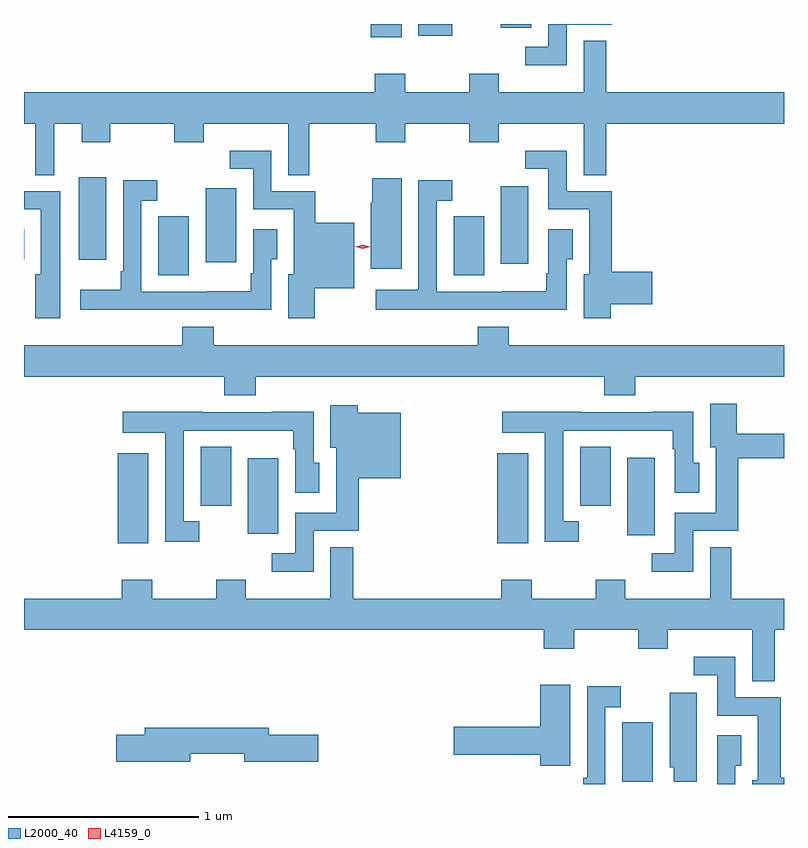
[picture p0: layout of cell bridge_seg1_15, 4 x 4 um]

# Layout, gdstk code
import gdstk
lib = gdstk.Library(unit=1e-6, precision=1e-09)
def R(c, l, rs):  # rectangles x0, y0, x1, y1
    for r in rs: c.add(gdstk.rectangle(r[:2], r[2:], *l))
def P(c, l, *ps):  # polygons
    for p in ps: c.add(gdstk.Polygon(p, *l))
L2000_40 = (2000, 40)
L4159_0 = (4159, 0)

bridge_seg1_15 = lib.new_cell('bridge_seg1_15')
R(bridge_seg1_15, L2000_40, [(883.283,529.621,883.444,529.932), (880.628,530.874,880.789,531.349), (882.626,530.874,882.787,531.349), (883.31,530.916,883.453,531.325), (881.312,530.924,881.473,531.322), (881.063,531.072,881.224,531.383), (883.061,531.072,883.222,531.383), (880.841,532.285,881.002,532.596), (882.395,532.285,882.556,532.596), (882.644,532.347,882.787,532.753), (881.09,532.355,881.251,532.744), (880.421,532.368,880.567,532.801), (880.134,532.369,880.135,532.528), (881.96,533.538,882.121,533.608), (882.21,533.547,882.388,533.608), (882.644,533.588,882.805,533.608)])
P(bridge_seg1_15, L2000_40, [(882.99,533.604),(883.228,533.604),(883.228,533.608),(882.894,533.608),(882.894,533.487),(882.771,533.487),(882.771,533.39),(882.99,533.39)],
  [(880.294,533.084),(880.439,533.084),(880.439,532.985),(880.587,532.985),(880.587,533.084),(880.924,533.084),(880.924,532.985),(881.079,532.985),(881.079,533.084),(881.525,533.084),(881.525,532.813),(881.636,532.813),(881.636,533.084),(881.986,533.084),(881.986,532.985),(882.141,532.985),(882.141,533.084),(882.478,533.084),(882.478,532.985),(882.633,532.985),(882.633,533.084),(883.079,533.084),(883.079,532.813),(883.198,532.813),(883.198,533.084),(884.134,533.084),(884.134,533.248),(883.198,533.248),(883.198,533.519),(883.079,533.519),(883.079,533.248),(882.633,533.248),(882.633,533.347),(882.478,533.347),(882.478,533.248),(882.141,533.248),(882.141,533.347),(881.981,533.347),(881.981,533.248),(880.134,533.248),(880.134,533.084),(880.193,533.084),(880.193,532.813),(880.294,532.813)],
  [(883.223,532.133),(883.441,532.133),(883.441,532.304),(883.228,532.304),(883.228,532.728),(882.99,532.728),(882.99,532.942),(882.771,532.942),(882.771,532.845),(882.894,532.845),(882.894,532.632),(883.109,532.632),(883.109,532.291),(883.079,532.291),(883.079,532.059),(883.223,532.059)],
  [(881.664,532.217),(881.872,532.217),(881.872,532.561),(881.666,532.561),(881.666,532.728),(881.436,532.728),(881.436,532.942),(881.217,532.942),(881.217,532.845),(881.34,532.845),(881.34,532.632),(881.555,532.632),(881.555,532.291),(881.525,532.291),(881.525,532.059),(881.664,532.059)],
  [(882.121,532.795),(881.968,532.795),(881.968,532.668),(881.96,532.668),(881.96,532.32),(882.121,532.32)],
  [(880.849,532.104),(881.215,532.104),(881.215,532.103),(881.436,532.103),(881.436,532.369),(881.467,532.369),(881.467,532.528),(881.34,532.528),(881.34,532.297),(881.328,532.297),(881.328,532.201),(881.098,532.201),(881.098,532.2),(880.752,532.2),(880.752,532.677),(880.834,532.677),(880.834,532.786),(880.656,532.786),(880.656,532.306),(880.644,532.306),(880.644,532.21),(880.431,532.21),(880.431,532.103),(880.849,532.103)],
  [(882.403,532.104),(882.769,532.104),(882.769,532.103),(882.99,532.103),(882.99,532.369),(883.021,532.369),(883.021,532.528),(882.894,532.528),(882.894,532.297),(882.882,532.297),(882.882,532.201),(882.652,532.201),(882.652,532.2),(882.306,532.2),(882.306,532.677),(882.388,532.677),(882.388,532.786),(882.21,532.786),(882.21,532.21),(881.985,532.21),(881.985,532.103),(882.403,532.103)],
  [(880.324,532.728),(880.134,532.728),(880.134,532.632),(880.223,532.632),(880.223,532.291),(880.193,532.291),(880.193,532.059),(880.324,532.059)],
  [(881.354,531.752),(883.187,531.752),(883.187,531.653),(883.352,531.653),(883.352,531.752),(884.134,531.752),(884.134,531.916),(882.686,531.916),(882.686,532.015),(882.521,532.015),(882.521,531.916),(881.132,531.916),(881.132,532.015),(880.967,532.015),(880.967,531.916),(880.134,531.916),(880.134,531.752),(881.189,531.752),(881.189,531.653),(881.354,531.653)],
  [(883.656,530.94),(883.894,530.94),(883.894,531.322),(884.134,531.322),(884.134,531.451),(883.884,531.451),(883.884,531.61),(883.745,531.61),(883.745,531.381),(883.775,531.381),(883.775,531.036),(883.56,531.036),(883.56,530.823),(883.437,530.823),(883.437,530.726),(883.656,530.726)],
  [(881.658,530.94),(881.896,530.94),(881.896,531.218),(882.118,531.218),(882.118,531.562),(881.891,531.562),(881.891,531.601),(881.747,531.601),(881.747,531.377),(881.777,531.377),(881.777,531.036),(881.562,531.036),(881.562,530.823),(881.439,530.823),(881.439,530.726),(881.658,530.726)],
  [(883.054,530.991),(882.972,530.991),(882.972,531.468),(883.318,531.468),(883.318,531.467),(883.548,531.467),(883.548,531.371),(883.56,531.371),(883.56,531.141),(883.687,531.141),(883.687,531.3),(883.656,531.3),(883.656,531.566),(883.435,531.566),(883.435,531.564),(883.069,531.564),(883.069,531.566),(882.651,531.566),(882.651,531.458),(882.876,531.458),(882.876,530.883),(883.054,530.883)],
  [(881.056,530.991),(880.974,530.991),(880.974,531.468),(881.32,531.468),(881.32,531.467),(881.55,531.467),(881.55,531.371),(881.562,531.371),(881.562,531.141),(881.689,531.141),(881.689,531.3),(881.658,531.3),(881.658,531.566),(881.437,531.566),(881.437,531.564),(881.071,531.564),(881.071,531.566),(880.653,531.566),(880.653,531.458),(880.878,531.458),(880.878,530.883),(881.056,530.883)],
  [(884.086,530.42),(884.134,530.42),(884.134,530.584),(883.856,530.584),(883.856,530.855),(883.745,530.855),(883.745,530.584),(883.299,530.584),(883.299,530.683),(883.144,530.683),(883.144,530.584),(882.807,530.584),(882.807,530.683),(882.647,530.683),(882.647,530.584),(881.866,530.584),(881.866,530.855),(881.747,530.855),(881.747,530.584),(881.301,530.584),(881.301,530.683),(881.146,530.683),(881.146,530.584),(880.809,530.584),(880.809,530.683),(880.649,530.683),(880.649,530.584),(880.134,530.584),(880.134,530.42),(882.869,530.42),(882.869,530.321),(883.029,530.321),(883.029,530.42),(883.366,530.42),(883.366,530.321),(883.521,530.321),(883.521,530.42),(883.967,530.42),(883.967,530.149),(884.086,530.149)],
  [(884.134,529.64),(884.116,529.64),(884.116,530.064),(883.878,530.064),(883.878,530.278),(883.659,530.278),(883.659,530.181),(883.782,530.181),(883.782,529.968),(883.997,529.968),(883.997,529.627),(883.967,529.627),(883.967,529.608),(884.134,529.608)],
  [(883.009,530.131),(882.851,530.131),(882.851,529.91),(882.396,529.91),(882.396,529.763),(882.851,529.763),(882.851,529.704),(883.009,529.704)],
  [(883.194,530.013),(883.276,530.013),(883.276,530.122),(883.098,530.122),(883.098,529.642),(883.078,529.642),(883.078,529.608),(883.194,529.608)],
  [(883.675,530.089),(883.532,530.089),(883.532,529.695),(883.553,529.695),(883.553,529.621),(883.675,529.621)],
  [(881.008,529.768),(881.294,529.768),(881.294,529.726),(881.683,529.726),(881.683,529.868),(881.422,529.868),(881.422,529.904),(880.769,529.904),(880.769,529.868),(880.62,529.868),(880.62,529.726),(881.008,529.726)],
  [(883.878,529.705),(883.909,529.705),(883.909,529.864),(883.782,529.864),(883.782,529.608),(883.878,529.608)])
P(bridge_seg1_15, L4159_0, [(881.918,532.426),(881.878,532.435),(881.878,532.435),(881.878,532.435),(881.917,532.446),(881.957,532.436),(881.957,532.436),(881.957,532.436)])

lib.write_gds('bridge_seg1_15.gds')
